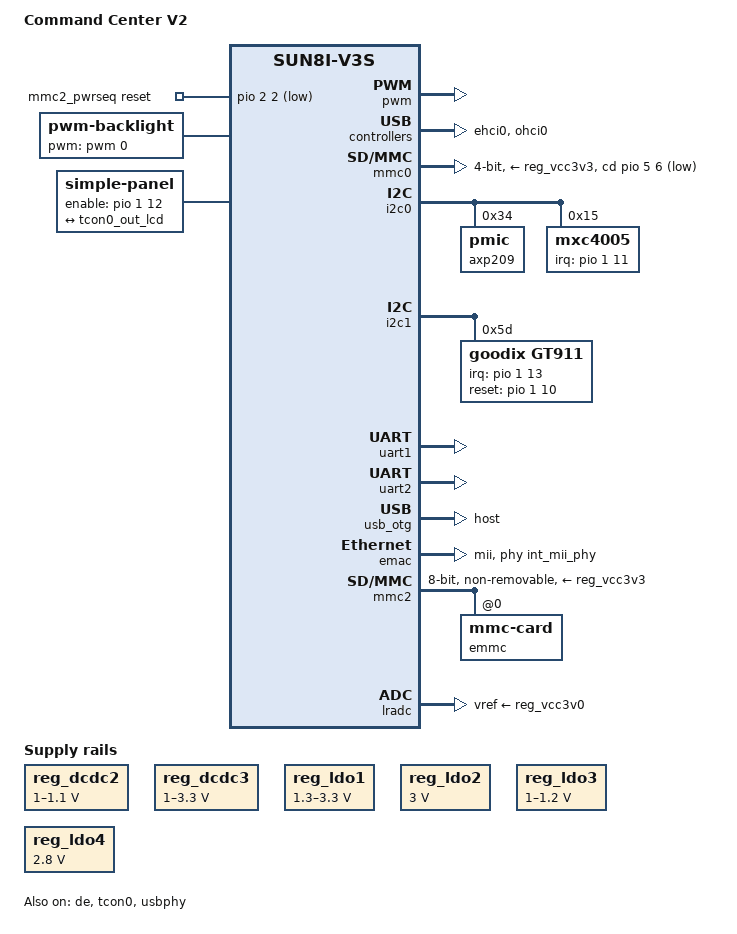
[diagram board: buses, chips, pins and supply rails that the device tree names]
/*
*	Adatis 2021
*/

/dts-v1/;
#include "sun8i-s3.dtsi"
#include <dt-bindings/input/input.h>
#include "sunxi-common-regulators.dtsi"

/ {
	model = "Command Center V2";
	compatible = "licheepi,licheepi-zero-dock", "licheepi,licheepi-zero", "allwinner,sun8i-s3"
		     "allwinner,sun8i-v3s";

	mmc2_pwrseq: pwrseq {
		compatible = "mmc-pwrseq-emmc";
		reset-gpios = <&pio 2 2 GPIO_ACTIVE_LOW>;	// PC2
	};

	aliases {
		serial0 = &uart1;
	};

	chosen {
		stdout-path = "serial0:115200n8";
	};

    backlight: backlight {
            compatible = "pwm-backlight";
            pwms = <&pwm 0 1000000 0>;
            brightness-levels = <0 30 40 50 60 70 100>;
            default-brightness-level = <6>;
    };
            
    panel: panel {
            #address-cells = <1>;
            #size-cells = <0>;
//		 	compatible = "urt,umsh-8596md-t", "simple-panel";
			
			compatible = "simple-panel";
			pinctrl-0 = <&lcd_rgb666_pins_b>, <&lcd_power_pin_som204>;

           	enable-gpios = <&pio 1 12 0>; // PB12

            port@0 {
                    reg = <0>;
                    backlight = <&backlight>;
                    #address-cells = <1>;
                    #size-cells = <0>;

                    panel_input: endpoint@0 {
                            reg = <0>;
                            remote-endpoint = <&tcon0_out_lcd>;
                    };
            };
    };

    // STM Clock on PWM1
	stm_clk: stm_clk {
	   status = "okay";
	   compatible = "pwm";
	   pwm_id = <1>;
	   min_period = <0>;
	   max_period = <10000>;
	   duty_ns = <5000>;
	};

//	leds {
//		compatible = "gpio-leds";
//
//		blue_led {
//			label = "licheepi:blue:usr";
//			gpios = <&pio 6 1 GPIO_ACTIVE_LOW>; /* PG1 */
//		};
//
//		green_led {
//			label = "licheepi:green:usr";
//			gpios = <&pio 6 0 GPIO_ACTIVE_LOW>; /* PG0 */
//			default-state = "on";
//		};
//
//		red_led {
//			label = "licheepi:red:usr";
//			gpios = <&pio 6 2 GPIO_ACTIVE_LOW>; /* PG2 */
//		};
//	};
	

	aliases {
		ethernet0 = &emac;
	};

	leds {
		status = "disabled";
	};

};


&de {
        status = "okay";
};


&pio {
	vcc-pa-supply = <&reg_vcc3v3>;							// GMAC
	vcc-pb-supply = <&reg_vcc3v3>;							// i2s, i2c (TWI)
	vcc-pc-supply = <&reg_vcc3v3>;							// emmc
	vcc-pd-supply = <&reg_vcc3v3>;	// Added				// LCD
//	vcc-pe-supply = <&reg_ldo3>;							// CSI0	
	vcc-pf-supply = <&reg_vcc3v3>;							// SD card
	vcc-pg-supply = <&reg_vcc3v3>;	// Changed was &reg_ldo4
//	vcc-ph-supply = <&reg_ldo4>;	// Added				// CSI1
//	vcc-pi-supply = <&reg_vcc3v3>;	// Added				// i2c (TWI), UART
	
	lcd_power_pin_som204: lcd_power_pin@0 {
	        pins = "PB12";
	        function = "gpio_out";
	};



// ============ TS PINS ======================
    touchscreen_pins_a: st@0 {
        pins = "PB13";
        function = "irq";
        drive-strength = <20>;
        bias-pull-up;
    };

// ============ END TS ======================

	/*stm32@0 {
        pins = "PB3";
        function = "gpio_out";
        drive-strength = <20>;
        bias-pull-down;
    };*/
};

&pwm {
        pinctrl-names = "default";
        pinctrl-0 = <&pwm0_pins>;
        status = "okay";
};


&tcon0 {
        pinctrl-names = "default";
        pinctrl-0 = <&lcd_rgb666_pins_a>;
        status = "okay";
};
        
&tcon0_out {
        tcon0_out_lcd: endpoint@0 {
                reg = <0>;
                remote-endpoint = <&panel_input>;
        };
};


&ehci0 {
	status = "okay";
};

&mmc0 {
	broken-cd;
	bus-width = <4>;
	vmmc-supply = <&reg_vcc3v3>;
	cd-gpios = <&pio 5 6 GPIO_ACTIVE_LOW>; /* PF6 */
	status = "okay";
};

&i2c0 {
	status = "okay";

	axp209: pmic@34 {
		reg = <0x34>;
		interrupt-parent = <&nmi_intc>;
		interrupts = <0 IRQ_TYPE_LEVEL_LOW>;
	};


	// Accelerometr
	mxc4005:mxc4005@15 
	{
		compatible = "mxc4005";
		reg = <0x15>;
		interrupt-parent = <&pio>;
		interrupts = <1 11 IRQ_TYPE_LEVEL_LOW>; // PB11
	};
};


&i2c1 {
	status = "okay";

	gt911: touchscreen@14 {
        compatible = "goodix,gt911";
        reg = <0x5d>;
        interrupt-parent = <&pio>;
        interrupts = <1 13 IRQ_TYPE_EDGE_FALLING>; // (PB13) 
        pinctrl-names = "default";
        irq-gpios = <&pio 1 13 GPIO_ACTIVE_HIGH>; // (PB13) 
        reset-gpios = <&pio 1 10 GPIO_ACTIVE_HIGH>; /* RST (PB10) */
        /* touchscreen-swapped-x-y */
    };

};


&ohci0 {
	status = "okay";
};



#include "axp209.dtsi"

&ac_power_supply {
	status = "okay";
};


&battery_power_supply {
	status = "okay";
};


&reg_dcdc2 {
	regulator-always-on;
	regulator-min-microvolt = <1000000>;
	regulator-max-microvolt = <1100000>;
	regulator-name = "vdd-cpu";
};

&reg_dcdc3 {
	regulator-always-on;
	regulator-min-microvolt = <1000000>;
	regulator-max-microvolt = <3300000>;
	regulator-name = "vdd-int-dll";
};

&reg_ldo1 {
	regulator-always-on;
	regulator-min-microvolt = <1300000>;
	regulator-max-microvolt = <3300000>;
	regulator-name = "vdd-rtc";
};

&reg_ldo2 {
	regulator-always-on;
	regulator-min-microvolt = <3000000>;
	regulator-max-microvolt = <3000000>;
	regulator-name = "vcc-pa";
};

&reg_ldo3 {
	regulator-min-microvolt = <1000000>;
	regulator-max-microvolt = <1200000>;
	regulator-name = "vddio-csi0";
	regulator-soft-start;
	regulator-ramp-delay = <1600>;
};

&reg_ldo4 {
	regulator-min-microvolt = <2800000>;
	regulator-max-microvolt = <2800000>;
	regulator-name = "vddio-csi1";
	regulator-soft-start;
	regulator-ramp-delay = <1600>;
};


// Debug Console
&uart1 {
	pinctrl-0 = <&uart1_pg_pins>;
	pinctrl-names = "default";
	status = "okay";
};

// STM32 bootloader 
&uart2 {
	pinctrl-0 = <&uart2_pb_pins>;
	pinctrl-names = "default";
	status = "okay";
};



&usb_otg {
	dr_mode = "host";
	status = "okay";
};

&usbphy {
//	usb0_id_det-gpios = <&pio 5 6 GPIO_ACTIVE_HIGH>;
	status = "okay";
};


/*
&codec {
	allwinner,audio-routing =
		"Headphone", "HP",
		"Headphone", "HPCOM",
		"MIC1", "Mic",
		"Mic",  "HBIAS";
	status = "okay";
};
*/

&emac {
	phy-handle = <&int_mii_phy>;
	phy-mode = "mii";
	allwinner,leds-active-low;
	status = "okay";
};


&mmc2 {
	vmmc-supply = <&reg_vcc3v3>;
	vqmmc-supply = <&reg_vcc3v3>;
	bus-width = <8>;
	non-removable;
	mmc-pwrseq = <&mmc2_pwrseq>;
	status = "okay";

	emmc: emmc@0 {
		reg = <0>;
		compatible = "mmc-card";
		broken-hpi;
	};
};


/*&mmc1 {
	broken-cd;
	bus-width = <4>;
	vmmc-supply = <&reg_vcc3v3>;
	status = "okay";
};*/

&lradc {
	vref-supply = <&reg_vcc3v0>;
	status = "okay";
/*
	button-200 {
		label = "Volume Up";
		linux,code = <KEY_VOLUMEUP>;
		channel = <0>;
		voltage = <200000>;
	};

	button-400 {
		label = "Volume Down";
		linux,code = <KEY_VOLUMEDOWN>;
		channel = <0>;
		voltage = <400000>;
	};

	button-600 {
		label = "Select";
		linux,code = <KEY_SELECT>;
		channel = <0>;
		voltage = <600000>;
	};

	button-800 {
		label = "Start";
		linux,code = <KEY_OK>;
		channel = <0>;
		voltage = <800000>;
	};*/
};

